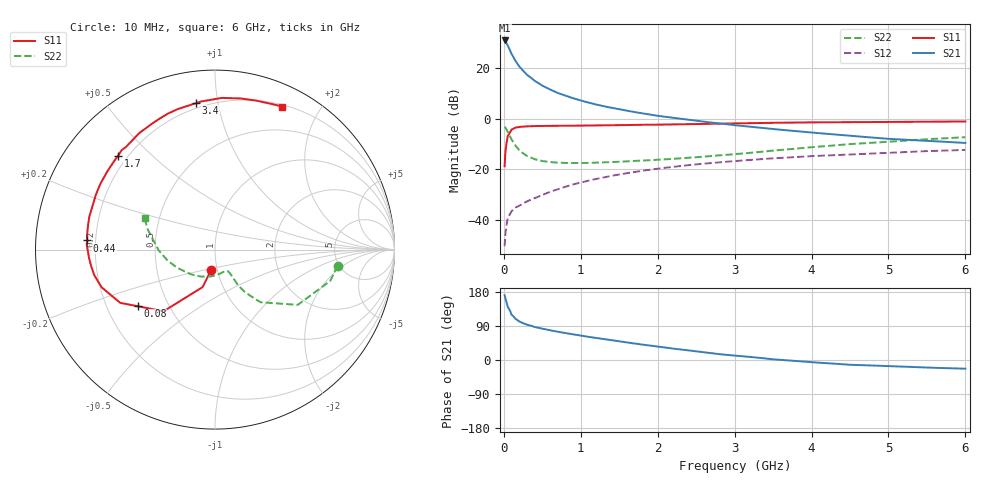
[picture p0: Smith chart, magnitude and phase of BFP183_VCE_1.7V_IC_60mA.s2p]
! Infineon Technologies  Discrete & RF Semiconductors
! BFP183
! VCE = 1.7 V,  IC =  60 mA
! Common Emitter S-Parameters:  Jan 2016
# GHz  S  MA  R  50
!  f  S11  S21  S12  S22
! GHz  MAG  ANG  MAG  ANG  MAG  ANG  MAG  ANG
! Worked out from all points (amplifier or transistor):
!   210 points, 10 MHz to 6 GHz, reference 50 ohm
!   highest |S21| = 31.0 dB at 10 MHz (marker M1)
!   |S21| within 3 dB of that: start of sweep to 66.6 MHz
!   unconditionally stable (mu >= 1): start of sweep to 40.08 MHz; 155.6 MHz to end of sweep
!   at 185 MHz: K = 1.10, MAG = 26.1 dB, |S12| = -34.7 dB
!   at 1.52 GHz: K = 1.81, MAG = 7.6 dB, |S12| = -22.0 dB
!   at 6 GHz: K = 1.43, MAG = -2.5 dB, |S12| = -12.4 dB
!   S11 on the Smith chart (normalised r, x): 10 MHz: 0.94, -0.21; 80 MHz: 0.33, -0.29; 440 MHz: 0.17, +0.03; 1.7 GHz: 0.16, +0.40; 3.4 GHz: 0.17, +0.87; 6 GHz: 0.22, +1.55
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0.01  0.1141 -100.7  35.29 171.0  0.003 62.7  0.689 -7.4
0.02  0.2196 -108.2  34.41 162.3  0.0052 65.0  0.6654 -15.2
0.05  0.4471 -129.8  28.34 140.4  0.0106 56.4  0.5547 -33.7
0.08  0.5345 -143.8  22.47 130.0  0.013 49.2  0.4502 -41.6
0.1  0.606 -150.7  19.17 119.7  0.0147 45.8  0.3875 -49.2
0.15  0.6657 -161.6  13.94 108.7  0.0174 44.7  0.2918 -54.8
0.2  0.6877 -168.1  10.83 101.8  0.0189 46.2  0.2377 -57.0
0.24  0.6953 -172.0  9.205 98.1  0.0205 47.6  0.2119 -57.3
0.3  0.7043 -176.8  7.398 93.2  0.023 51.4  0.183 -57.4
0.4  0.7149 177.8  5.613 87.1  0.0268 54.5  0.158 -57.6
0.44  0.7153 175.9  5.163 85.5  0.0284 55.4  0.1528 -57.9
0.5  0.7174 173.1  4.498 82.6  0.0308 56.5  0.1451 -58.4
0.7  0.7238 165.4  3.225 74.5  0.0399 60.1  0.1345 -61.3
1.02  0.7311 154.8  2.24 63.8  0.0553 61.5  0.1323 -69.6
1.3  0.7379 146.9  1.759 55.0  0.0688 60.1  0.137 -78.2
1.7  0.752 135.8  1.35 43.5  0.0884 57.2  0.146 -91.9
2.02  0.7625 127.3  1.129 34.9  0.1031 54.2  0.155 -103.2
3.1  0.8119 102.9  0.718 9.9  0.1486 42.4  0.2041 -142.3
3.4  0.8231 97.3  0.645 4.1  0.1602 39.1  0.2254 -151.5
4.1  0.8467 86.0  0.516 -7.2  0.184 31.4  0.28 -170.2
5.1  0.8622 73.6  0.392 -16.8  0.214 21.9  0.3578 169.2
6  0.8803 64.9  0.331 -22.9  0.2405 12.1  0.4295 156.0
